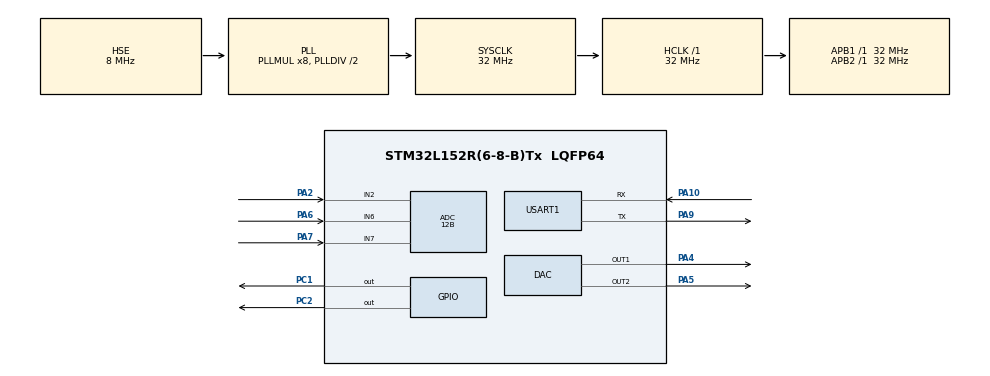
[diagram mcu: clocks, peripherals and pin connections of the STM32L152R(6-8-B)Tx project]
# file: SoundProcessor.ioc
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ADC.Channel-0\#ChannelRegularConversion=ADC_CHANNEL_6
ADC.Channel-1\#ChannelRegularConversion=ADC_CHANNEL_7
ADC.Channel-2\#ChannelRegularConversion=ADC_CHANNEL_2
ADC.ClockPrescaler=ADC_CLOCK_ASYNC_DIV2
ADC.ContinuousConvMode=ENABLE
ADC.DMAContinuousRequests=ENABLE
ADC.DataAlign=ADC_DATAALIGN_RIGHT
ADC.DiscontinuousConvMode=DISABLE
ADC.EOCSelection=ADC_EOC_SEQ_CONV
ADC.EnableAnalogWatchDog=false
ADC.ExternalTrigConv=ADC_SOFTWARE_START
ADC.ExternalTrigConvEdge=ADC_EXTERNALTRIGCONVEDGE_NONE
ADC.InjNumberOfConversion=0
ADC.LowPowerAutoPowerOff=ADC_AUTOPOWEROFF_DISABLE
ADC.LowPowerAutoWait=ADC_AUTOWAIT_DISABLE
ADC.NbrOfConversion=3
ADC.NbrOfConversionFlag=1
ADC.Rank-0\#ChannelRegularConversion=1
ADC.Rank-1\#ChannelRegularConversion=2
ADC.Rank-2\#ChannelRegularConversion=3
ADC.Resolution=ADC_RESOLUTION_12B
ADC.SamplingTime-0\#ChannelRegularConversion=ADC_SAMPLETIME_48CYCLES
ADC.SamplingTime-1\#ChannelRegularConversion=ADC_SAMPLETIME_48CYCLES
ADC.SamplingTime-2\#ChannelRegularConversion=ADC_SAMPLETIME_48CYCLES
ADC.ScanConvMode=ADC_SCAN_ENABLE
Dma.ADC.0.Direction=DMA_PERIPH_TO_MEMORY
Dma.ADC.0.Instance=DMA1_Channel1
Dma.ADC.0.MemDataAlignment=DMA_MDATAALIGN_HALFWORD
Dma.ADC.0.MemInc=DMA_MINC_ENABLE
Dma.ADC.0.Mode=DMA_CIRCULAR
Dma.ADC.0.PeriphDataAlignment=DMA_PDATAALIGN_HALFWORD
Dma.ADC.0.PeriphInc=DMA_PINC_DISABLE
Dma.ADC.0.Priority=DMA_PRIORITY_MEDIUM
Dma.Request0=ADC
Mcu.Family=STM32L1
Mcu.Name=STM32L152R(6-8-B)Tx
Mcu.Package=LQFP64
NVIC.ADC1_IRQn=true\:0\:0\:false\:false\:true\:true
NVIC.DMA1_Channel1_IRQn=true\:0\:0\:false\:false\:true\:false
NVIC.PriorityGroup=NVIC_PRIORITYGROUP_4
NVIC.USART1_IRQn=true\:0\:0\:false\:false\:true\:true
PA10.Mode=Asynchronous
PA10.Signal=USART1_RX
PA13.Mode=Serial_Wire
PA13.Signal=SYS_JTMS-SWDIO
PA14.Mode=Serial_Wire
PA14.Signal=SYS_JTCK-SWCLK
PA2.Mode=IN2
PA2.Signal=ADC_IN2
PA4.Signal=COMP_DAC1_group
PA5.Signal=COMP_DAC2_group
PA6.Mode=IN6
PA6.Signal=ADC_IN6
PA7.Mode=IN7
PA7.Signal=ADC_IN7
PA9.Mode=Asynchronous
PA9.Signal=USART1_TX
PC1.GPIO_ModeDefaultOutputPP=GPIO_MODE_OUTPUT_OD
PC1.PinState=GPIO_PIN_SET
PC1.Signal=GPIO_Output
PC2.GPIO_ModeDefaultOutputPP=GPIO_MODE_OUTPUT_OD
PC2.PinState=GPIO_PIN_SET
PC2.Signal=GPIO_Output
PH0-OSC_IN.Mode=HSE-External-Oscillator
PH0-OSC_IN.Signal=RCC_OSC_IN
PH1-OSC_OUT.Mode=HSE-External-Oscillator
PH1-OSC_OUT.Signal=RCC_OSC_OUT
ProjectManager.HeapSize=0x200
ProjectManager.StackSize=0x400
ProjectManager.TargetToolchain=TrueSTUDIO
RCC.48MHZClocksFreq_Value=32000000
RCC.AHBFreq_Value=32000000
RCC.APB1Freq_Value=32000000
RCC.APB1TimFreq_Value=32000000
RCC.APB2Freq_Value=32000000
RCC.APB2TimFreq_Value=32000000
RCC.HCLKFreq_Value=32000000
RCC.HSE_VALUE=8000000
RCC.HSI_VALUE=16000000
RCC.LSE_VALUE=32768
RCC.MSI_VALUE=2097000
RCC.PLLMUL=RCC_PLL_MUL8
RCC.PLLSourceVirtual=RCC_PLLSOURCE_HSE
RCC.SYSCLKFreq_VALUE=32000000
RCC.SYSCLKSource=RCC_SYSCLKSOURCE_PLLCLK
RCC.VCOOutputFreq_Value=64000000
SH.COMP_DAC1_group.0=DAC_OUT1,DAC_OUT1
SH.COMP_DAC2_group.0=DAC_OUT2,DAC_OUT2
USART1.VirtualMode=VM_ASYNC
board=SoundProcessor

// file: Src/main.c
/**
  ******************************************************************************
  * @file           : main.c
  * @brief          : Main program body
  ******************************************************************************
  ** This notice applies to any and all portions of this file
  * that are not between comment pairs USER CODE BEGIN and
  * USER CODE END. Other portions of this file, whether
  * inserted by the user or by software development tools
  * are owned by their respective copyright owners.
  *
  * COPYRIGHT(c) 2018 STMicroelectronics
  *
  * Redistribution and use in source and binary forms, with or without modification,
  * are permitted provided that the following conditions are met:
  *   1. Redistributions of source code must retain the above copyright notice,
  *      this list of conditions and the following disclaimer.
  *   2. Redistributions in binary form must reproduce the above copyright notice,
  *      this list of conditions and the following disclaimer in the documentation
  *      and/or other materials provided with the distribution.
  *   3. Neither the name of STMicroelectronics nor the names of its contributors
  *      may be used to endorse or promote products derived from this software
  *      without specific prior written permission.
  *
  * THIS SOFTWARE IS PROVIDED BY THE COPYRIGHT HOLDERS AND CONTRIBUTORS "AS IS"
  * AND ANY EXPRESS OR IMPLIED WARRANTIES, INCLUDING, BUT NOT LIMITED TO, THE
  * IMPLIED WARRANTIES OF MERCHANTABILITY AND FITNESS FOR A PARTICULAR PURPOSE ARE
  * DISCLAIMED. IN NO EVENT SHALL THE COPYRIGHT HOLDER OR CONTRIBUTORS BE LIABLE
  * FOR ANY DIRECT, INDIRECT, INCIDENTAL, SPECIAL, EXEMPLARY, OR CONSEQUENTIAL
  * DAMAGES (INCLUDING, BUT NOT LIMITED TO, PROCUREMENT OF SUBSTITUTE GOODS OR
  * SERVICES; LOSS OF USE, DATA, OR PROFITS; OR BUSINESS INTERRUPTION) HOWEVER
  * CAUSED AND ON ANY THEORY OF LIABILITY, WHETHER IN CONTRACT, STRICT LIABILITY,
  * OR TORT (INCLUDING NEGLIGENCE OR OTHERWISE) ARISING IN ANY WAY OUT OF THE USE
  * OF THIS SOFTWARE, EVEN IF ADVISED OF THE POSSIBILITY OF SUCH DAMAGE.
  *
  ******************************************************************************
  */
#include "main.h"
#include "stm32l1xx_hal.h"
#include "adc.h"
#include "dac.h"
#include "dma.h"
#include "usart.h"
#include "gpio.h"
#include <math.h>

/* USER CODE BEGIN PV */
/* Private variables ---------------------------------------------------------*/
volatile uint16_t Set1 = 0;
volatile uint16_t Set2 = 0;
volatile float gain = 1.0;

volatile uint16_t ADC_BUF[3];
volatile uint16_t level = 2048;
volatile uint16_t levelCounter = 0;
volatile float currentLevel = 0.0;
const uint16_t maxlevelCounter = 1000;
/* USER CODE END PV */

void SystemClock_Config(void);

/* USER CODE BEGIN PFP */
/* Private function prototypes -----------------------------------------------*/

/* USER CODE END PFP */

/* USER CODE BEGIN 0 */
void HAL_ADC_ConvCpltCallback(ADC_HandleTypeDef* hadc)
{
	Set1 = ADC_BUF[0];
	Set2 = ADC_BUF[1];
	gain = 4096.0/((float)(4096 - ADC_BUF[2]));
	Set1 = 2048 + ((Set1 - 2048)*gain);
	Set2 = 2048 + ((Set2 - 2048)*gain);

	if (Set1 > 2048 + level) {
		Set1 = 2048 + level;
	}
	if (Set1 < 2048 - level) {
		Set1 = 2048 - level;
	}
	if (Set2 > 2048 + level) {
		Set2 = 2048 + level;
	}
	if (Set2 < 2048 - level) {
		Set2 = 2048 - level;
	}

	HAL_DAC_SetValue(&hdac, DAC_CHANNEL_1, DAC_ALIGN_12B_R, Set1);
	HAL_DAC_SetValue(&hdac, DAC_CHANNEL_2, DAC_ALIGN_12B_R, Set2);

	if (levelCounter<maxlevelCounter)
	{
		currentLevel = currentLevel + (float)((ADC_BUF[0]-2048)*(ADC_BUF[0]-2048))/maxlevelCounter;
	}
	else
	{
		level = (uint16_t)(2048*sqrt(currentLevel));
		currentLevel = 0.0;
		levelCounter = 0;
	}
}

/* USER CODE END 0 */

int main(void)
{

  /* MCU Configuration----------------------------------------------------------*/

  /* Reset of all peripherals, Initializes the Flash interface and the Systick. */
  HAL_Init();

  /* Configure the system clock */
  SystemClock_Config();

  /* Initialize all configured peripherals */
  MX_GPIO_Init();
  MX_DMA_Init();
  MX_DAC_Init();
  MX_ADC_Init();
  MX_USART1_UART_Init();
  /* USER CODE BEGIN 2 */
  //HAL_ADC_Start_IT(&hadc);
  HAL_DAC_Start(&hdac, DAC_CHANNEL_1);
  HAL_DAC_Start(&hdac, DAC_CHANNEL_2);
  HAL_ADC_Start_DMA(&hadc,(uint32_t *)&ADC_BUF,3);
  /* USER CODE END 2 */

  /* Infinite loop */
  while (1)
  {

  }

}

void SystemClock_Config(void)
{

  RCC_OscInitTypeDef RCC_OscInitStruct;
  RCC_ClkInitTypeDef RCC_ClkInitStruct;

    /**Configure the main internal regulator output voltage
    */
  __HAL_PWR_VOLTAGESCALING_CONFIG(PWR_REGULATOR_VOLTAGE_SCALE1);

    /**Initializes the CPU, AHB and APB busses clocks
    */
  RCC_OscInitStruct.OscillatorType = RCC_OSCILLATORTYPE_HSI|RCC_OSCILLATORTYPE_HSE;
  RCC_OscInitStruct.HSEState = RCC_HSE_ON;
  RCC_OscInitStruct.HSIState = RCC_HSI_ON;
  RCC_OscInitStruct.HSICalibrationValue = 16;
  RCC_OscInitStruct.PLL.PLLState = RCC_PLL_ON;
  RCC_OscInitStruct.PLL.PLLSource = RCC_PLLSOURCE_HSE;
  RCC_OscInitStruct.PLL.PLLMUL = RCC_PLL_MUL8;
  RCC_OscInitStruct.PLL.PLLDIV = RCC_PLL_DIV2;
  if (HAL_RCC_OscConfig(&RCC_OscInitStruct) != HAL_OK)
  {
    _Error_Handler(__FILE__, __LINE__);
  }

    /**Initializes the CPU, AHB and APB busses clocks
    */
  RCC_ClkInitStruct.ClockType = RCC_CLOCKTYPE_HCLK|RCC_CLOCKTYPE_SYSCLK
                              |RCC_CLOCKTYPE_PCLK1|RCC_CLOCKTYPE_PCLK2;
  RCC_ClkInitStruct.SYSCLKSource = RCC_SYSCLKSOURCE_PLLCLK;
  RCC_ClkInitStruct.AHBCLKDivider = RCC_SYSCLK_DIV1;
  RCC_ClkInitStruct.APB1CLKDivider = RCC_HCLK_DIV1;
  RCC_ClkInitStruct.APB2CLKDivider = RCC_HCLK_DIV1;

  if (HAL_RCC_ClockConfig(&RCC_ClkInitStruct, FLASH_LATENCY_1) != HAL_OK)
  {
    _Error_Handler(__FILE__, __LINE__);
  }

    /**Configure the Systick interrupt time
    */
  HAL_SYSTICK_Config(HAL_RCC_GetHCLKFreq()/1000);

    /**Configure the Systick
    */
  HAL_SYSTICK_CLKSourceConfig(SYSTICK_CLKSOURCE_HCLK);

  /* SysTick_IRQn interrupt configuration */
  HAL_NVIC_SetPriority(SysTick_IRQn, 0, 0);
}

void _Error_Handler(char *file, int line)
{
  while(1)
  {
  }
}

/************************ (C) COPYRIGHT STMicroelectronics *****END OF FILE****/
